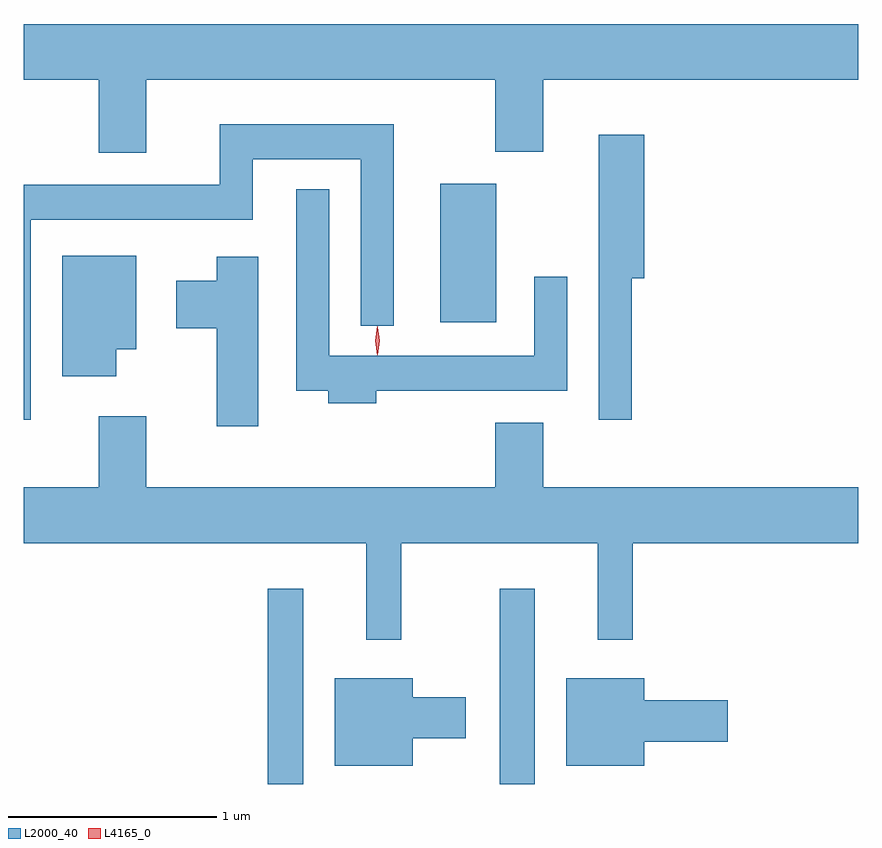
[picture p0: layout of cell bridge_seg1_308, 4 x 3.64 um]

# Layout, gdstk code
import gdstk
lib = gdstk.Library(unit=1e-6, precision=1e-09)
def R(c, l, rs):  # rectangles x0, y0, x1, y1
    for r in rs: c.add(gdstk.rectangle(r[:2], r[2:], *l))
def P(c, l, *ps):  # polygons
    for p in ps: c.add(gdstk.Polygon(p, *l))
L2000_40 = (2000, 40)
L4165_0 = (4165, 0)

bridge_seg1_308 = lib.new_cell('bridge_seg1_308')
R(bridge_seg1_308, L2000_40, [(883.021,871.783,883.189,872.718), (884.131,871.783,884.299,872.718), (883.846,873.996,884.114,874.659)])
P(bridge_seg1_308, L2000_40, [(882.439,875.156),(884.111,875.156),(884.111,874.811),(884.339,874.811),(884.339,875.156),(885.85,875.156),(885.85,875.424),(881.85,875.424),(881.85,875.156),(882.211,875.156),(882.211,874.806),(882.439,874.806)],
  [(881.884,874.486),(882.949,874.486),(882.949,874.776),(883.466,874.776),(883.466,873.978),(883.624,873.978),(883.624,874.944),(882.791,874.944),(882.791,874.654),(881.85,874.654),(881.85,873.528),(881.884,873.528)],
  [(884.764,874.206),(884.824,874.206),(884.824,874.894),(884.606,874.894),(884.606,873.528),(884.764,873.528)],
  [(883.539,873.666),(884.454,873.666),(884.454,874.213),(884.296,874.213),(884.296,873.834),(883.314,873.834),(883.314,874.633),(883.156,874.633),(883.156,873.666),(883.311,873.666),(883.311,873.606),(883.539,873.606)],
  [(882.294,873.866),(882.389,873.866),(882.389,874.314),(882.036,874.314),(882.036,873.736),(882.294,873.736)],
  [(882.974,874.309),(882.776,874.309),(882.776,874.194),(882.581,874.194),(882.581,873.966),(882.776,873.966),(882.776,873.496),(882.974,873.496)],
  [(883.659,872.936),(884.601,872.936),(884.601,872.473),(884.769,872.473),(884.769,872.936),(885.85,872.936),(885.85,873.204),(884.339,873.204),(884.339,873.514),(884.111,873.514),(884.111,873.204),(882.439,873.204),(882.439,873.544),(882.211,873.544),(882.211,873.204),(881.85,873.204),(881.85,872.936),(883.491,872.936),(883.491,872.473),(883.659,872.473)],
  [(883.714,872.001),(883.969,872.001),(883.969,872.199),(883.714,872.199),(883.714,872.289),(883.341,872.289),(883.341,871.871),(883.714,871.871)],
  [(884.824,871.986),(885.224,871.986),(885.224,872.184),(884.824,872.184),(884.824,872.289),(884.451,872.289),(884.451,871.871),(884.824,871.871)])
P(bridge_seg1_308, L4165_0, [(883.544,873.837),(883.535,873.907),(883.544,873.976),(883.545,873.976),(883.545,873.976),(883.555,873.907),(883.545,873.837),(883.545,873.837)],
  [(883.546,873.839),(883.545,873.84),(883.536,873.906),(883.545,873.972),(883.546,873.973),(883.546,873.972),(883.556,873.906),(883.546,873.84)])

lib.write_gds('bridge_seg1_308.gds')
